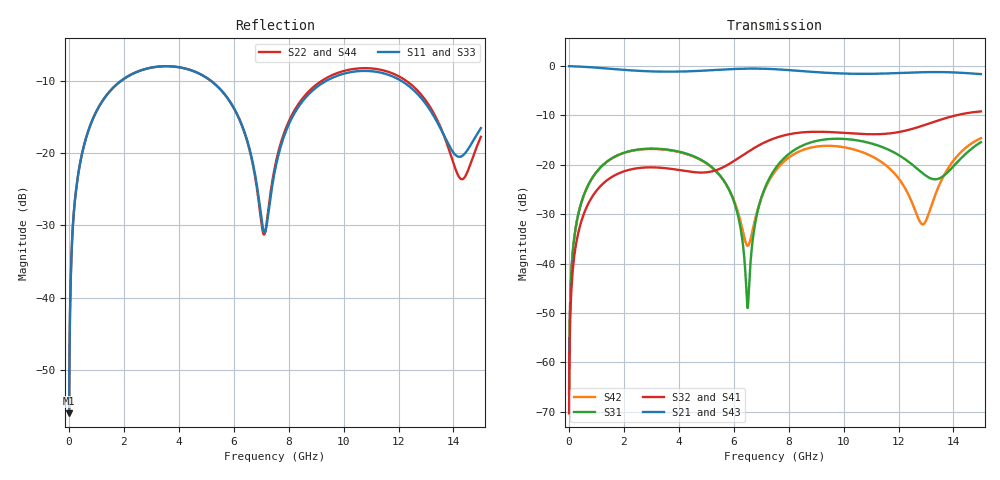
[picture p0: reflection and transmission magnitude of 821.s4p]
! Created with skrf 1.8.0 (http://scikit-rf.org).
# GHz S RI R 50.0
!freq ReS11 ImS11 ReS12 ImS12 ReS13 ImS13
! ReS14 ImS14
! ReS21 ImS21 ReS22 ImS22 ReS23 ImS23
! ReS24 ImS24
! ReS31 ImS31 ReS32 ImS32 ReS33 ImS33
! ReS34 ImS34
! ReS41 ImS41 ReS42 ImS42 ReS43 ImS43
! ReS44 ImS44
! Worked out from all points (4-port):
!   2499 points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, 5 MHz to 15 GHz, reference 50 ohm
!   strongest paths, dB at 5 MHz, 3.476 GHz, 7.19 GHz, 11.1 GHz, 15 GHz:
!     S21: 0.0, -1.1, -0.5, -1.6, -1.6
!     S43: 0.0, -1.1, -0.5, -1.5, -1.6
!     S32: -70.3, -20.7, -15.3, -13.8, -9.2
!     S41: -70.3, -20.6, -15.3, -13.8, -9.2
!     S31: -66.5, -16.8, -24.0, -15.8, -15.4
!     S42: -66.5, -16.9, -24.2, -18.5, -14.6
!   lowest |S11| = -56.0 dB at 5 MHz (marker M1), VSWR 1.00, Z = 50.1 + j0.097 ohm
!   |S11| at or under -10 dB: start of sweep to 1.905 GHz; 5.163 GHz to 9.378 GHz (4.215 GHz wide, 58 % of centre); 12.09 GHz to end of sweep
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0.005  0.00127 0.000968  0.9987 -0.00247  6.15e-05 0.00047  -5.99e-05 -0.000299
       0.9987 -0.00247  0.00127 0.000968  -5.99e-05 -0.000299  6.15e-05 0.00047
       6.15e-05 0.00047  -5.99e-05 -0.000299  0.00127 0.000968  0.9987 -0.00247
       -5.99e-05 -0.000299  6.15e-05 0.00047  0.9987 -0.00247  0.00127 0.000968
0.4126719  0.0236 0.0834  0.9674 -0.2017  0.0107 0.0367  -0.00884 -0.0231
           0.9674 -0.2017  0.0237 0.0834  -0.00884 -0.0231  0.0105 0.0368
           0.0107 0.0367  -0.00884 -0.0231  0.0236 0.0834  0.9674 -0.2017
           -0.00884 -0.0231  0.0105 0.0368  0.9674 -0.2017  0.0237 0.0834
1.975823  0.2655 0.1846  0.5615 -0.7253  0.119 0.057  -0.0851 -0.00825
          0.5615 -0.7253  0.2661 0.1842  -0.0851 -0.00831  0.1172 0.0593
          0.119 0.057  -0.0851 -0.00831  0.2655 0.1846  0.5615 -0.7253
          -0.0851 -0.00825  0.1172 0.0593  0.5615 -0.7253  0.2661 0.1842
6.502709  0.0566 -0.1057  -0.888 -0.3182  -0.00353 -0.000421  -0.0412 0.1283
          -0.888 -0.3182  0.0546 -0.1048  -0.042 0.128  -0.0148 -0.00326
          -0.00353 -0.000421  -0.042 0.128  0.0562 -0.1073  -0.8877 -0.3183
          -0.0412 0.1283  -0.0148 -0.00326  -0.8877 -0.3183  0.056 -0.1058
7.090454  0.028 -0.00657  -0.9388 -0.0607  0.0127 0.0528  -0.00594 0.1669
          -0.9388 -0.0607  0.0272 -0.00322  -0.00704 0.1669  -0.00691 0.0527
          0.0127 0.0528  -0.00704 0.1669  0.0269 -0.00809  -0.9388 -0.0609
          -0.00594 0.1669  -0.00691 0.0527  -0.9388 -0.0609  0.0285 -0.00473
11.12338  0.364 -0.0363  0.0529 0.8351  0.1045 -0.1228  0.194 -0.0651
          0.0529 0.8351  0.378 -0.059  0.1942 -0.0631  0.1047 -0.055
          0.1045 -0.1228  0.1942 -0.0631  0.3633 -0.0367  0.0542 0.8353
          0.194 -0.0651  0.1047 -0.055  0.0542 0.8353  0.3769 -0.0598
15  0.1319 0.0688  0.8132 -0.1681  0.0855 0.1466  -0.1031 -0.3318
    0.8132 -0.1681  0.105 0.0758  -0.099 -0.3333  0.0867 0.1648
    0.0855 0.1466  -0.099 -0.3333  0.1304 0.0715  0.8123 -0.1713
    -0.1031 -0.3318  0.0867 0.1648  0.8123 -0.1713  0.108 0.0758
